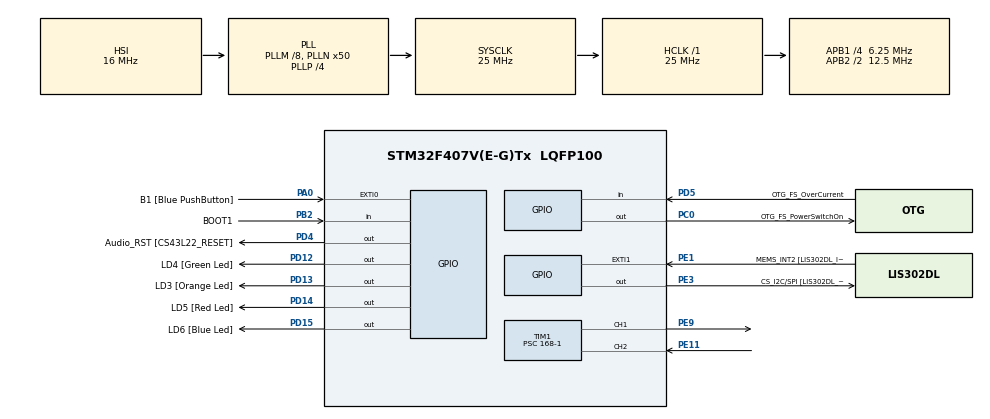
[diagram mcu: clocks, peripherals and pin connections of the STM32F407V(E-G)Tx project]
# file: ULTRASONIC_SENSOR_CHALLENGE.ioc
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Mcu.Family=STM32F4
Mcu.Name=STM32F407V(E-G)Tx
Mcu.Package=LQFP100
NVIC.PriorityGroup=NVIC_PRIORITYGROUP_0
NVIC.TIM1_CC_IRQn=true\:0\:0\:false\:false\:true\:true\:true\:true
PA0-WKUP.GPIO_Label=B1 [Blue PushButton]
PA0-WKUP.Signal=GPXTI0
PA10.GPIO_Label=OTG_FS_ID
PA10.GPIO_Mode=GPIO_MODE_AF_PP
PA10.GPIO_PuPd=GPIO_NOPULL
PA10.GPIO_Speed=GPIO_SPEED_FREQ_LOW
PA10.Signal=USB_OTG_FS_ID
PA11.GPIO_Label=OTG_FS_DM
PA11.GPIO_Mode=GPIO_MODE_AF_PP
PA11.GPIO_PuPd=GPIO_NOPULL
PA11.GPIO_Speed=GPIO_SPEED_FREQ_LOW
PA11.Signal=USB_OTG_FS_DM
PA12.GPIO_Label=OTG_FS_DP
PA12.GPIO_Mode=GPIO_MODE_AF_PP
PA12.GPIO_PuPd=GPIO_NOPULL
PA12.GPIO_Speed=GPIO_SPEED_FREQ_LOW
PA12.Signal=USB_OTG_FS_DP
PA13.GPIO_Label=SWDIO
PA13.Signal=SYS_JTMS-SWDIO
PA14.GPIO_Label=SWCLK
PA14.Signal=SYS_JTCK-SWCLK
PA4.GPIO_Label=I2S3_WS [CS43L22_LRCK]
PA4.GPIO_Mode=GPIO_MODE_AF_PP
PA4.GPIO_PuPd=GPIO_NOPULL
PA4.GPIO_Speed=GPIO_SPEED_FREQ_LOW
PA4.Signal=I2S3_WS
PA5.GPIO_Label=SPI1_SCK [LIS302DL_SCL/SPC]
PA5.GPIO_Mode=GPIO_MODE_AF_PP
PA5.GPIO_PuPd=GPIO_NOPULL
PA5.GPIO_Speed=GPIO_SPEED_FREQ_LOW
PA5.Signal=SPI1_SCK
PA6.GPIO_Label=SPI1_MISO [LIS302DL_SDO]
PA6.GPIO_Mode=GPIO_MODE_AF_PP
PA6.GPIO_PuPd=GPIO_NOPULL
PA6.GPIO_Speed=GPIO_SPEED_FREQ_LOW
PA6.Signal=SPI1_MISO
PA7.GPIO_Label=SPI1_MOSI [LIS302DL_SDA/SDI/SDO]
PA7.GPIO_Mode=GPIO_MODE_AF_PP
PA7.GPIO_PuPd=GPIO_NOPULL
PA7.GPIO_Speed=GPIO_SPEED_FREQ_LOW
PA7.Signal=SPI1_MOSI
PA9.GPIO_Label=VBUS_FS
PA9.GPIO_Mode=GPIO_MODE_INPUT
PA9.GPIO_PuPd=GPIO_NOPULL
PA9.Signal=USB_OTG_FS_VBUS
PB10.GPIO_Label=CLK_IN [MP45DT02_CLK]
PB10.GPIO_Mode=GPIO_MODE_AF_PP
PB10.GPIO_PuPd=GPIO_NOPULL
PB10.GPIO_Speed=GPIO_SPEED_FREQ_LOW
PB10.Signal=I2S2_CK
PB2.GPIO_Label=BOOT1
PB2.GPIO_Mode=GPIO_MODE_INPUT
PB2.GPIO_PuPd=GPIO_NOPULL
PB2.Signal=GPIO_Input
PB3.GPIO_Label=SWO
PB3.Signal=SYS_JTDO-SWO
PB6.GPIO_Label=Audio_SCL [CS43L22_SCL]
PB6.GPIO_Mode=GPIO_MODE_AF_OD
PB6.GPIO_PuPd=GPIO_NOPULL
PB6.GPIO_Speed=GPIO_SPEED_FREQ_LOW
PB6.Signal=I2C1_SCL
PB9.GPIO_Label=Audio_SDA [CS43L22_SDA]
PB9.GPIO_Mode=GPIO_MODE_AF_OD
PB9.GPIO_PuPd=GPIO_NOPULL
PB9.GPIO_Speed=GPIO_SPEED_FREQ_LOW
PB9.Signal=I2C1_SDA
PC0.GPIO_Label=OTG_FS_PowerSwitchOn
PC0.GPIO_PuPd=GPIO_NOPULL
PC0.GPIO_Speed=GPIO_SPEED_FREQ_LOW
PC0.PinState=GPIO_PIN_SET
PC0.Signal=GPIO_Output
PC10.GPIO_Label=I2S3_SCK [CS43L22_SCLK]
PC10.GPIO_Mode=GPIO_MODE_AF_PP
PC10.GPIO_PuPd=GPIO_NOPULL
PC10.GPIO_Speed=GPIO_SPEED_FREQ_LOW
PC10.Signal=I2S3_CK
PC12.GPIO_Label=I2S3_SD [CS43L22_SDIN]
PC12.GPIO_Mode=GPIO_MODE_AF_PP
PC12.GPIO_PuPd=GPIO_NOPULL
PC12.GPIO_Speed=GPIO_SPEED_FREQ_LOW
PC12.Signal=I2S3_SD
PC14-OSC32_IN.GPIO_Label=PC14-OSC32_IN
PC14-OSC32_IN.Signal=RCC_OSC32_IN
PC15-OSC32_OUT.GPIO_Label=PC15-OSC32_OUT
PC15-OSC32_OUT.Signal=RCC_OSC32_OUT
PC3.GPIO_Label=PDM_OUT [MP45DT02_DOUT]
PC3.GPIO_Mode=GPIO_MODE_AF_PP
PC3.GPIO_PuPd=GPIO_NOPULL
PC3.GPIO_Speed=GPIO_SPEED_FREQ_LOW
PC3.Signal=I2S2_SD
PC7.GPIO_Label=I2S3_MCK [CS43L22_MCLK]
PC7.GPIO_Mode=GPIO_MODE_AF_PP
PC7.GPIO_PuPd=GPIO_NOPULL
PC7.GPIO_Speed=GPIO_SPEED_FREQ_LOW
PC7.Signal=I2S3_MCK
PD12.GPIO_Label=LD4 [Green Led]
PD12.GPIO_PuPd=GPIO_NOPULL
PD12.GPIO_Speed=GPIO_SPEED_FREQ_LOW
PD12.Signal=GPIO_Output
PD13.GPIO_Label=LD3 [Orange Led]
PD13.GPIO_PuPd=GPIO_NOPULL
PD13.GPIO_Speed=GPIO_SPEED_FREQ_LOW
PD13.Signal=GPIO_Output
PD14.GPIO_Label=LD5 [Red Led]
PD14.GPIO_PuPd=GPIO_NOPULL
PD14.GPIO_Speed=GPIO_SPEED_FREQ_LOW
PD14.Signal=GPIO_Output
PD15.GPIO_Label=LD6 [Blue Led]
PD15.GPIO_PuPd=GPIO_NOPULL
PD15.GPIO_Speed=GPIO_SPEED_FREQ_LOW
PD15.Signal=GPIO_Output
PD4.GPIO_Label=Audio_RST [CS43L22_RESET]
PD4.GPIO_PuPd=GPIO_NOPULL
PD4.GPIO_Speed=GPIO_SPEED_FREQ_LOW
PD4.Signal=GPIO_Output
PD5.GPIO_Label=OTG_FS_OverCurrent
PD5.GPIO_Mode=GPIO_MODE_INPUT
PD5.GPIO_PuPd=GPIO_NOPULL
PD5.Signal=GPIO_Input
PE1.GPIO_Label=MEMS_INT2 [LIS302DL_INT2]
PE1.GPIO_ModeDefaultEXTI=GPIO_MODE_EVT_RISING
PE1.GPIO_PuPd=GPIO_NOPULL
PE1.Signal=GPXTI1
PE11.Signal=S_TIM1_CH2
PE3.GPIO_Label=CS_I2C/SPI [LIS302DL_CS_I2C/SPI]
PE3.GPIO_PuPd=GPIO_NOPULL
PE3.GPIO_Speed=GPIO_SPEED_FREQ_LOW
PE3.Signal=GPIO_Output
PE9.Signal=S_TIM1_CH1
PH0-OSC_IN.GPIO_Label=PH0-OSC_IN
PH0-OSC_IN.Signal=RCC_OSC_IN
PH1-OSC_OUT.GPIO_Label=PH1-OSC_OUT
PH1-OSC_OUT.Signal=RCC_OSC_OUT
ProjectManager.HeapSize=0x200
ProjectManager.StackSize=0x400
ProjectManager.TargetToolchain=STM32CubeIDE
RCC.48MHZClocksFreq_Value=14285714.285714285
RCC.AHBFreq_Value=25000000
RCC.APB1CLKDivider=RCC_HCLK_DIV4
RCC.APB1Freq_Value=6250000
RCC.APB1TimFreq_Value=12500000
RCC.APB2CLKDivider=RCC_HCLK_DIV2
RCC.APB2Freq_Value=12500000
RCC.APB2TimFreq_Value=25000000
RCC.CortexFreq_Value=25000000
RCC.HCLKFreq_Value=25000000
RCC.HSE_VALUE=8000000
RCC.HSI_VALUE=16000000
RCC.LSE_VALUE=32768
RCC.PLLM=8
RCC.PLLN=50
RCC.PLLP=RCC_PLLP_DIV4
RCC.PLLQ=7
RCC.SYSCLKFreq_VALUE=25000000
RCC.SYSCLKSource=RCC_SYSCLKSOURCE_PLLCLK
RCC.VCOOutputFreq_Value=100000000
SH.S_TIM1_CH1.0=TIM1_CH1,PWM Generation1 CH1
SH.S_TIM1_CH2.0=TIM1_CH2,Input_Capture2_from_TI2
TIM1.AutoReloadPreload=TIM_AUTORELOAD_PRELOAD_ENABLE
TIM1.Channel-Input_Capture2_from_TI2=TIM_CHANNEL_2
TIM1.Channel-PWM\ Generation1\ CH1=TIM_CHANNEL_1
TIM1.OCMode_PWM-PWM\ Generation1\ CH1=TIM_OCMODE_PWM2
TIM1.Period=50000-1
TIM1.Prescaler=168-1
TIM1.Pulse-PWM\ Generation1\ CH1=10
VP_TIM1_VS_OPM.Mode=OPM_bit
board=STM32F407G-DISC1

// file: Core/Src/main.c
/* USER CODE BEGIN Header */
/**
  ******************************************************************************
  * @file           : main.c
  * @brief          : Main program body
  ******************************************************************************
  * @attention
  *
  * Copyright (c) 2025 STMicroelectronics.
  * All rights reserved.
  *
  * This software is licensed under terms that can be found in the LICENSE file
  * in the root directory of this software component.
  * If no LICENSE file comes with this software, it is provided AS-IS.
  *
  ******************************************************************************
  */
/* USER CODE END Header */
#include "main.h"

TIM_HandleTypeDef htim1;

void SystemClock_Config(void);
static void MX_GPIO_Init(void);
static void MX_TIM1_Init(void);

/* USER CODE BEGIN 0 */

// Gloabal Variable Declarations
volatile uint32_t echo_start = 0;
volatile uint32_t echo_end = 0;
volatile uint32_t echo_PW = 0;
volatile float distance = 0;
volatile uint8_t edge_flag = 0;

/* USER CODE END 0 */

int main(void)
{

  /* MCU Configuration--------------------------------------------------------*/

  /* Reset of all peripherals, Initializes the Flash interface and the Systick. */
  HAL_Init();

  /* Configure the system clock */
  SystemClock_Config();

  /* Initialize all configured peripherals */
  MX_GPIO_Init();
  MX_TIM1_Init();
  /* USER CODE BEGIN 2 */

  // Initializing Timer Channels
  // Generate the First Trigger Pulse (10us) using TIM CH1
  HAL_TIM_OC_Start(&htim1, TIM_CHANNEL_1);
  // Start Input Capture on TIM1 CH2 (Echo)
  HAL_TIM_IC_Start(&htim1, TIM_CHANNEL_2);

  /* USER CODE END 2 */

  /* Infinite loop */
  /* USER CODE BEGIN WHILE */
  while (1)
  {
	  // Trigger the Sensor by Starting One Pulse Mode Output
	  HAL_TIM_OC_Start(&htim1, TIM_CHANNEL_1);
	  // Wait for 60ms between pulses
	  HAL_Delay(60);
    /* USER CODE END WHILE */

  }
}

void SystemClock_Config(void)
{
  RCC_OscInitTypeDef RCC_OscInitStruct = {0};
  RCC_ClkInitTypeDef RCC_ClkInitStruct = {0};

  /** Configure the main internal regulator output voltage
  */
  __HAL_RCC_PWR_CLK_ENABLE();
  __HAL_PWR_VOLTAGESCALING_CONFIG(PWR_REGULATOR_VOLTAGE_SCALE1);

  /** Initializes the RCC Oscillators according to the specified parameters
  * in the RCC_OscInitTypeDef structure.
  */
  RCC_OscInitStruct.OscillatorType = RCC_OSCILLATORTYPE_HSI;
  RCC_OscInitStruct.HSIState = RCC_HSI_ON;
  RCC_OscInitStruct.HSICalibrationValue = RCC_HSICALIBRATION_DEFAULT;
  RCC_OscInitStruct.PLL.PLLState = RCC_PLL_ON;
  RCC_OscInitStruct.PLL.PLLSource = RCC_PLLSOURCE_HSI;
  RCC_OscInitStruct.PLL.PLLM = 8;
  RCC_OscInitStruct.PLL.PLLN = 50;
  RCC_OscInitStruct.PLL.PLLP = RCC_PLLP_DIV4;
  RCC_OscInitStruct.PLL.PLLQ = 7;
  if (HAL_RCC_OscConfig(&RCC_OscInitStruct) != HAL_OK)
  {
    Error_Handler();
  }

  /** Initializes the CPU, AHB and APB buses clocks
  */
  RCC_ClkInitStruct.ClockType = RCC_CLOCKTYPE_HCLK|RCC_CLOCKTYPE_SYSCLK
                              |RCC_CLOCKTYPE_PCLK1|RCC_CLOCKTYPE_PCLK2;
  RCC_ClkInitStruct.SYSCLKSource = RCC_SYSCLKSOURCE_PLLCLK;
  RCC_ClkInitStruct.AHBCLKDivider = RCC_SYSCLK_DIV1;
  RCC_ClkInitStruct.APB1CLKDivider = RCC_HCLK_DIV4;
  RCC_ClkInitStruct.APB2CLKDivider = RCC_HCLK_DIV2;

  if (HAL_RCC_ClockConfig(&RCC_ClkInitStruct, FLASH_LATENCY_0) != HAL_OK)
  {
    Error_Handler();
  }
}

static void MX_TIM1_Init(void)
{

  TIM_MasterConfigTypeDef sMasterConfig = {0};
  TIM_OC_InitTypeDef sConfigOC = {0};
  TIM_IC_InitTypeDef sConfigIC = {0};
  TIM_BreakDeadTimeConfigTypeDef sBreakDeadTimeConfig = {0};

  htim1.Instance = TIM1;
  htim1.Init.Prescaler = 168-1;
  htim1.Init.CounterMode = TIM_COUNTERMODE_UP;
  htim1.Init.Period = 50000-1;
  htim1.Init.ClockDivision = TIM_CLOCKDIVISION_DIV1;
  htim1.Init.RepetitionCounter = 0;
  htim1.Init.AutoReloadPreload = TIM_AUTORELOAD_PRELOAD_ENABLE;
  if (HAL_TIM_PWM_Init(&htim1) != HAL_OK)
  {
    Error_Handler();
  }
  if (HAL_TIM_IC_Init(&htim1) != HAL_OK)
  {
    Error_Handler();
  }
  if (HAL_TIM_OnePulse_Init(&htim1, TIM_OPMODE_SINGLE) != HAL_OK)
  {
    Error_Handler();
  }
  sMasterConfig.MasterOutputTrigger = TIM_TRGO_RESET;
  sMasterConfig.MasterSlaveMode = TIM_MASTERSLAVEMODE_DISABLE;
  if (HAL_TIMEx_MasterConfigSynchronization(&htim1, &sMasterConfig) != HAL_OK)
  {
    Error_Handler();
  }
  sConfigOC.OCMode = TIM_OCMODE_PWM2;
  sConfigOC.Pulse = 10;
  sConfigOC.OCPolarity = TIM_OCPOLARITY_HIGH;
  sConfigOC.OCNPolarity = TIM_OCNPOLARITY_HIGH;
  sConfigOC.OCFastMode = TIM_OCFAST_DISABLE;
  sConfigOC.OCIdleState = TIM_OCIDLESTATE_RESET;
  sConfigOC.OCNIdleState = TIM_OCNIDLESTATE_RESET;
  if (HAL_TIM_PWM_ConfigChannel(&htim1, &sConfigOC, TIM_CHANNEL_1) != HAL_OK)
  {
    Error_Handler();
  }
  sConfigIC.ICPolarity = TIM_INPUTCHANNELPOLARITY_RISING;
  sConfigIC.ICSelection = TIM_ICSELECTION_DIRECTTI;
  sConfigIC.ICPrescaler = TIM_ICPSC_DIV1;
  sConfigIC.ICFilter = 0;
  if (HAL_TIM_IC_ConfigChannel(&htim1, &sConfigIC, TIM_CHANNEL_2) != HAL_OK)
  {
    Error_Handler();
  }
  sBreakDeadTimeConfig.OffStateRunMode = TIM_OSSR_DISABLE;
  sBreakDeadTimeConfig.OffStateIDLEMode = TIM_OSSI_DISABLE;
  sBreakDeadTimeConfig.LockLevel = TIM_LOCKLEVEL_OFF;
  sBreakDeadTimeConfig.DeadTime = 0;
  sBreakDeadTimeConfig.BreakState = TIM_BREAK_DISABLE;
  sBreakDeadTimeConfig.BreakPolarity = TIM_BREAKPOLARITY_HIGH;
  sBreakDeadTimeConfig.AutomaticOutput = TIM_AUTOMATICOUTPUT_DISABLE;
  if (HAL_TIMEx_ConfigBreakDeadTime(&htim1, &sBreakDeadTimeConfig) != HAL_OK)
  {
    Error_Handler();
  }
  HAL_TIM_MspPostInit(&htim1);

}

static void MX_GPIO_Init(void)
{
  GPIO_InitTypeDef GPIO_InitStruct = {0};

  /* GPIO Ports Clock Enable */
  __HAL_RCC_GPIOE_CLK_ENABLE();
  __HAL_RCC_GPIOC_CLK_ENABLE();
  __HAL_RCC_GPIOH_CLK_ENABLE();
  __HAL_RCC_GPIOA_CLK_ENABLE();
  __HAL_RCC_GPIOB_CLK_ENABLE();
  __HAL_RCC_GPIOD_CLK_ENABLE();

  /*Configure GPIO pin Output Level */
  HAL_GPIO_WritePin(CS_I2C_SPI_GPIO_Port, CS_I2C_SPI_Pin, GPIO_PIN_RESET);

  /*Configure GPIO pin Output Level */
  HAL_GPIO_WritePin(OTG_FS_PowerSwitchOn_GPIO_Port, OTG_FS_PowerSwitchOn_Pin, GPIO_PIN_SET);

  /*Configure GPIO pin Output Level */
  HAL_GPIO_WritePin(GPIOD, LD4_Pin|LD3_Pin|LD5_Pin|LD6_Pin
                          |Audio_RST_Pin, GPIO_PIN_RESET);

  /*Configure GPIO pin : CS_I2C_SPI_Pin */
  GPIO_InitStruct.Pin = CS_I2C_SPI_Pin;
  GPIO_InitStruct.Mode = GPIO_MODE_OUTPUT_PP;
  GPIO_InitStruct.Pull = GPIO_NOPULL;
  GPIO_InitStruct.Speed = GPIO_SPEED_FREQ_LOW;
  HAL_GPIO_Init(CS_I2C_SPI_GPIO_Port, &GPIO_InitStruct);

  /*Configure GPIO pin : OTG_FS_PowerSwitchOn_Pin */
  GPIO_InitStruct.Pin = OTG_FS_PowerSwitchOn_Pin;
  GPIO_InitStruct.Mode = GPIO_MODE_OUTPUT_PP;
  GPIO_InitStruct.Pull = GPIO_NOPULL;
  GPIO_InitStruct.Speed = GPIO_SPEED_FREQ_LOW;
  HAL_GPIO_Init(OTG_FS_PowerSwitchOn_GPIO_Port, &GPIO_InitStruct);

  /*Configure GPIO pin : PDM_OUT_Pin */
  GPIO_InitStruct.Pin = PDM_OUT_Pin;
  GPIO_InitStruct.Mode = GPIO_MODE_AF_PP;
  GPIO_InitStruct.Pull = GPIO_NOPULL;
  GPIO_InitStruct.Speed = GPIO_SPEED_FREQ_LOW;
  GPIO_InitStruct.Alternate = GPIO_AF5_SPI2;
  HAL_GPIO_Init(PDM_OUT_GPIO_Port, &GPIO_InitStruct);

  /*Configure GPIO pin : B1_Pin */
  GPIO_InitStruct.Pin = B1_Pin;
  GPIO_InitStruct.Mode = GPIO_MODE_IT_RISING;
  GPIO_InitStruct.Pull = GPIO_NOPULL;
  HAL_GPIO_Init(B1_GPIO_Port, &GPIO_InitStruct);

  /*Configure GPIO pin : I2S3_WS_Pin */
  GPIO_InitStruct.Pin = I2S3_WS_Pin;
  GPIO_InitStruct.Mode = GPIO_MODE_AF_PP;
  GPIO_InitStruct.Pull = GPIO_NOPULL;
  GPIO_InitStruct.Speed = GPIO_SPEED_FREQ_LOW;
  GPIO_InitStruct.Alternate = GPIO_AF6_SPI3;
  HAL_GPIO_Init(I2S3_WS_GPIO_Port, &GPIO_InitStruct);

  /*Configure GPIO pins : SPI1_SCK_Pin SPI1_MISO_Pin SPI1_MOSI_Pin */
  GPIO_InitStruct.Pin = SPI1_SCK_Pin|SPI1_MISO_Pin|SPI1_MOSI_Pin;
  GPIO_InitStruct.Mode = GPIO_MODE_AF_PP;
  GPIO_InitStruct.Pull = GPIO_NOPULL;
  GPIO_InitStruct.Speed = GPIO_SPEED_FREQ_LOW;
  GPIO_InitStruct.Alternate = GPIO_AF5_SPI1;
  HAL_GPIO_Init(GPIOA, &GPIO_InitStruct);

  /*Configure GPIO pin : BOOT1_Pin */
  GPIO_InitStruct.Pin = BOOT1_Pin;
  GPIO_InitStruct.Mode = GPIO_MODE_INPUT;
  GPIO_InitStruct.Pull = GPIO_NOPULL;
  HAL_GPIO_Init(BOOT1_GPIO_Port, &GPIO_InitStruct);

  /*Configure GPIO pin : CLK_IN_Pin */
  GPIO_InitStruct.Pin = CLK_IN_Pin;
  GPIO_InitStruct.Mode = GPIO_MODE_AF_PP;
  GPIO_InitStruct.Pull = GPIO_NOPULL;
  GPIO_InitStruct.Speed = GPIO_SPEED_FREQ_LOW;
  GPIO_InitStruct.Alternate = GPIO_AF5_SPI2;
  HAL_GPIO_Init(CLK_IN_GPIO_Port, &GPIO_InitStruct);

  /*Configure GPIO pins : LD4_Pin LD3_Pin LD5_Pin LD6_Pin
                           Audio_RST_Pin */
  GPIO_InitStruct.Pin = LD4_Pin|LD3_Pin|LD5_Pin|LD6_Pin
                          |Audio_RST_Pin;
  GPIO_InitStruct.Mode = GPIO_MODE_OUTPUT_PP;
  GPIO_InitStruct.Pull = GPIO_NOPULL;
  GPIO_InitStruct.Speed = GPIO_SPEED_FREQ_LOW;
  HAL_GPIO_Init(GPIOD, &GPIO_InitStruct);

  /*Configure GPIO pins : I2S3_MCK_Pin I2S3_SCK_Pin I2S3_SD_Pin */
  GPIO_InitStruct.Pin = I2S3_MCK_Pin|I2S3_SCK_Pin|I2S3_SD_Pin;
  GPIO_InitStruct.Mode = GPIO_MODE_AF_PP;
  GPIO_InitStruct.Pull = GPIO_NOPULL;
  GPIO_InitStruct.Speed = GPIO_SPEED_FREQ_LOW;
  GPIO_InitStruct.Alternate = GPIO_AF6_SPI3;
  HAL_GPIO_Init(GPIOC, &GPIO_InitStruct);

  /*Configure GPIO pin : VBUS_FS_Pin */
  GPIO_InitStruct.Pin = VBUS_FS_Pin;
  GPIO_InitStruct.Mode = GPIO_MODE_INPUT;
  GPIO_InitStruct.Pull = GPIO_NOPULL;
  HAL_GPIO_Init(VBUS_FS_GPIO_Port, &GPIO_InitStruct);

  /*Configure GPIO pins : OTG_FS_ID_Pin OTG_FS_DM_Pin OTG_FS_DP_Pin */
  GPIO_InitStruct.Pin = OTG_FS_ID_Pin|OTG_FS_DM_Pin|OTG_FS_DP_Pin;
  GPIO_InitStruct.Mode = GPIO_MODE_AF_PP;
  GPIO_InitStruct.Pull = GPIO_NOPULL;
  GPIO_InitStruct.Speed = GPIO_SPEED_FREQ_LOW;
  GPIO_InitStruct.Alternate = GPIO_AF10_OTG_FS;
  HAL_GPIO_Init(GPIOA, &GPIO_InitStruct);

  /*Configure GPIO pin : OTG_FS_OverCurrent_Pin */
  GPIO_InitStruct.Pin = OTG_FS_OverCurrent_Pin;
  GPIO_InitStruct.Mode = GPIO_MODE_INPUT;
  GPIO_InitStruct.Pull = GPIO_NOPULL;
  HAL_GPIO_Init(OTG_FS_OverCurrent_GPIO_Port, &GPIO_InitStruct);

  /*Configure GPIO pins : Audio_SCL_Pin Audio_SDA_Pin */
  GPIO_InitStruct.Pin = Audio_SCL_Pin|Audio_SDA_Pin;
  GPIO_InitStruct.Mode = GPIO_MODE_AF_OD;
  GPIO_InitStruct.Pull = GPIO_NOPULL;
  GPIO_InitStruct.Speed = GPIO_SPEED_FREQ_LOW;
  GPIO_InitStruct.Alternate = GPIO_AF4_I2C1;
  HAL_GPIO_Init(GPIOB, &GPIO_InitStruct);

  /*Configure GPIO pin : MEMS_INT2_Pin */
  GPIO_InitStruct.Pin = MEMS_INT2_Pin;
  GPIO_InitStruct.Mode = GPIO_MODE_EVT_RISING;
  GPIO_InitStruct.Pull = GPIO_NOPULL;
  HAL_GPIO_Init(MEMS_INT2_GPIO_Port, &GPIO_InitStruct);

}

/* USER CODE BEGIN 4 */

// The below Function is called on both Rising and Falling Edge Capture
void HAL_TIM_IC_CaptureCallback(TIM_HandleTypedDef *htim)
{
	if (htim->Instance == TIM1 && htim->Channel == HAL_TIM_ACTIVE_CHANNEL_2)
	{
		if (edge_flag == 0)
		{
			// Capture the Rising Edge
			echo_start = HAL_TIM_ReadCapturedValue(htim, TIM_CHANNEL_2);

			// Switch Polarity to Falling Edge to detect end of Echo Pulse
			__HAL_TIM_SET_CAPTUREPOLARITY(htim, TIM_CHANNEL_2, TIM_INPUTCHANNELPOLARITY_FALLING);
			edge_flag = 1;
		}
		else
		{
			// Capture the Falling Edge
			echo_end = HAL_TIM_ReadCapturedValue(htim, TIM_CHANNEL_2);

			// Calculate the Pulse Width
			if (echo_end >= echo_start)
				echo_PW = echo_end - echo_start;
			else
				echo_PW = (htim->Init.Period - echo_start) + echo_end + 1;

			// Convert to Distance in cm
			distance = (float)echo_PW / 58.0f;

			// Recapture the next Rising Edge
			__HAL_TIM_SET_CAPTUREPOLARITY(htim, TIM_CHANNEL_2, TIM_INPUTCHANNELPOLARITY_RISING);
			edge_flag = 0;
		}
	}
}

/* USER CODE END 4 */

void Error_Handler(void)
{
  __disable_irq();
  while (1)
  {
  }
}
